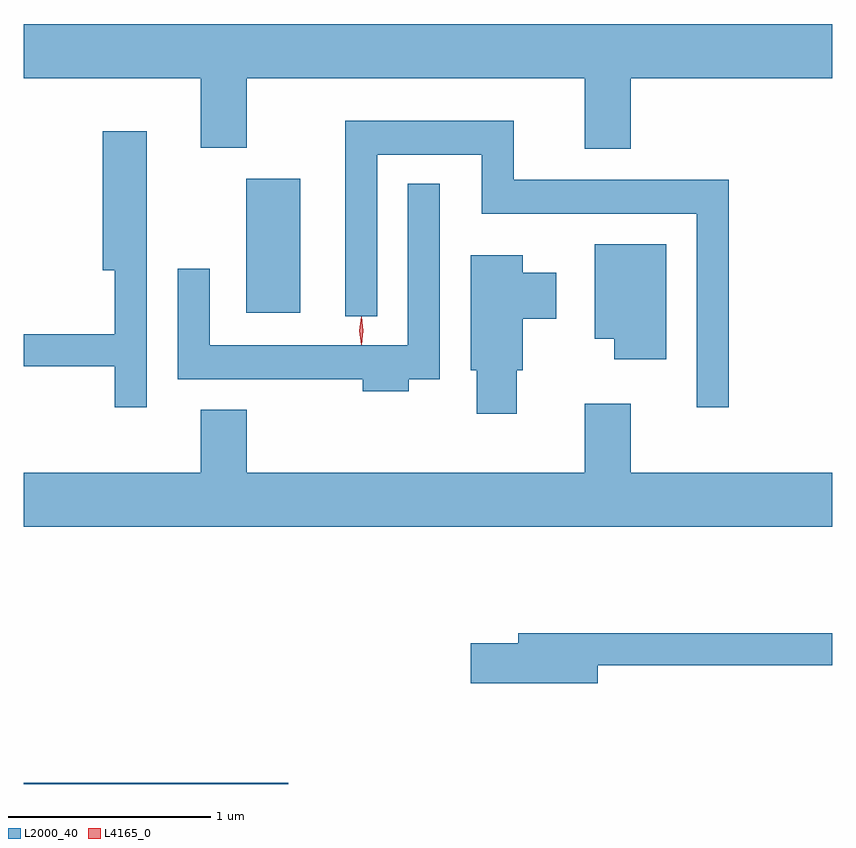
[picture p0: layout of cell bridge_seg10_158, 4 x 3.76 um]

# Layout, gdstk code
import gdstk
lib = gdstk.Library(unit=1e-6, precision=1e-09)
def R(c, l, rs):  # rectangles x0, y0, x1, y1
    for r in rs: c.add(gdstk.rectangle(r[:2], r[2:], *l))
def P(c, l, *ps):  # polygons
    for p in ps: c.add(gdstk.Polygon(p, *l))
L2000_40 = (2000, 40)
L4165_0 = (4165, 0)

bridge_seg10_158 = lib.new_cell('bridge_seg10_158')
R(bridge_seg10_158, L2000_40, [(1694.905,2088.223,1696.214,2088.229), (1696.006,2090.556,1696.274,2091.219)])
P(bridge_seg10_158, L2000_40, [(1697.909,2091.716),(1698.905,2091.716),(1698.905,2091.984),(1694.905,2091.984),(1694.905,2091.716),(1695.781,2091.716),(1695.781,2091.371),(1696.009,2091.371),(1696.009,2091.716),(1697.681,2091.716),(1697.681,2091.366),(1697.909,2091.366)],
  [(1698.394,2091.214),(1697.329,2091.214),(1697.329,2091.504),(1696.496,2091.504),(1696.496,2090.538),(1696.654,2090.538),(1696.654,2091.336),(1697.171,2091.336),(1697.171,2091.046),(1698.236,2091.046),(1698.236,2090.088),(1698.394,2090.088)],
  [(1695.514,2091.454),(1695.296,2091.454),(1695.296,2090.766),(1695.356,2090.766),(1695.356,2090.449),(1694.905,2090.449),(1694.905,2090.291),(1695.356,2090.291),(1695.356,2090.088),(1695.514,2090.088)],
  [(1696.809,2090.226),(1696.964,2090.226),(1696.964,2091.193),(1696.806,2091.193),(1696.806,2090.394),(1695.824,2090.394),(1695.824,2090.773),(1695.666,2090.773),(1695.666,2090.226),(1696.581,2090.226),(1696.581,2090.166),(1696.809,2090.166)],
  [(1698.084,2090.894),(1697.731,2090.894),(1697.731,2090.426),(1697.826,2090.426),(1697.826,2090.326),(1698.084,2090.326)],
  [(1697.344,2090.271),(1697.374,2090.271),(1697.374,2090.526),(1697.539,2090.526),(1697.539,2090.754),(1697.374,2090.754),(1697.374,2090.839),(1697.116,2090.839),(1697.116,2090.271),(1697.146,2090.271),(1697.146,2090.056),(1697.344,2090.056)],
  [(1698.905,2089.764),(1697.909,2089.764),(1697.909,2090.104),(1697.681,2090.104),(1697.681,2089.764),(1696.009,2089.764),(1696.009,2090.074),(1695.781,2090.074),(1695.781,2089.764),(1694.905,2089.764),(1694.905,2089.496),(1698.905,2089.496)],
  [(1697.744,2088.811),(1698.905,2088.811),(1698.905,2088.969),(1697.351,2088.969),(1697.351,2088.919),(1697.116,2088.919),(1697.116,2088.721),(1697.744,2088.721)])
P(bridge_seg10_158, L4165_0, [(1696.575,2090.399),(1696.574,2090.4),(1696.565,2090.466),(1696.574,2090.532),(1696.575,2090.533),(1696.575,2090.532),(1696.585,2090.466),(1696.575,2090.4)],
  [(1696.574,2090.397),(1696.565,2090.466),(1696.574,2090.536),(1696.575,2090.536),(1696.576,2090.536),(1696.585,2090.466),(1696.576,2090.397),(1696.575,2090.397)])

lib.write_gds('bridge_seg10_158.gds')
